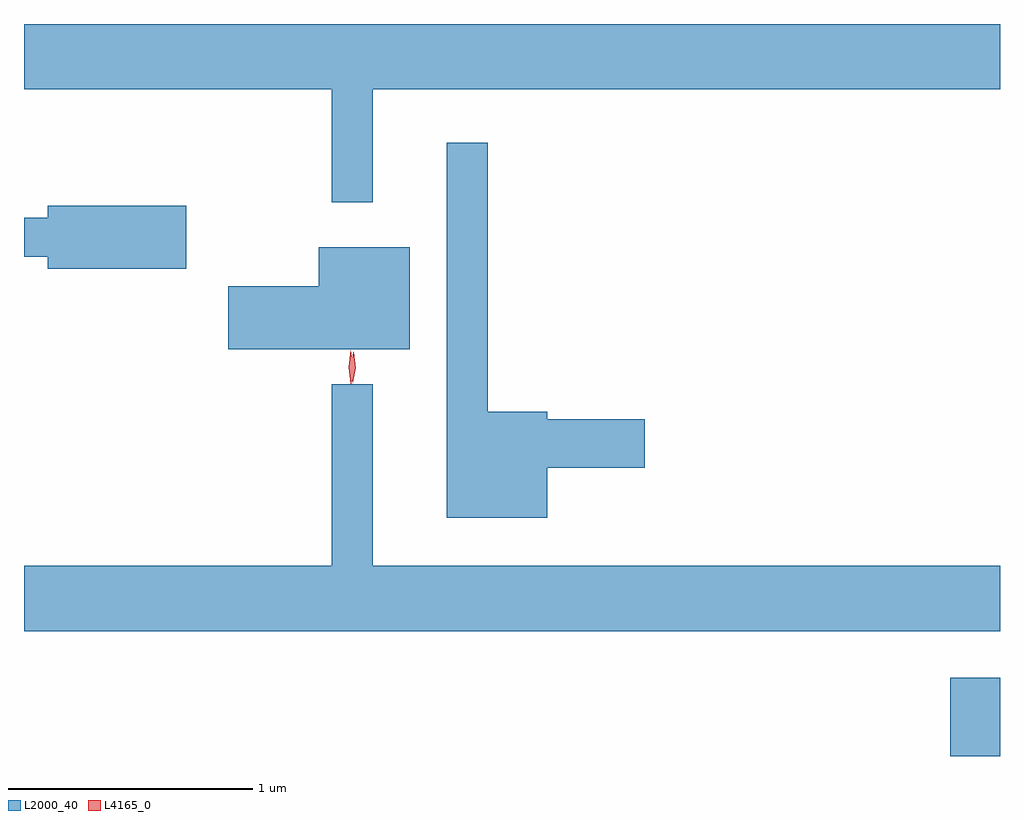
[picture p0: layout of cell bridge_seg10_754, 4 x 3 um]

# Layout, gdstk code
import gdstk
lib = gdstk.Library(unit=1e-6, precision=1e-09)
def R(c, l, rs):  # rectangles x0, y0, x1, y1
    for r in rs: c.add(gdstk.rectangle(r[:2], r[2:], *l))
def P(c, l, *ps):  # polygons
    for p in ps: c.add(gdstk.Polygon(p, *l))
L2000_40 = (2000, 40)
L4165_0 = (4165, 0)

bridge_seg10_754 = lib.new_cell('bridge_seg10_754')
R(bridge_seg10_754, L2000_40, [(612.676,2117.844,612.879,2118.164)])
P(bridge_seg10_754, L2000_40, [(610.309,2120.576),(612.879,2120.576),(612.879,2120.844),(608.879,2120.844),(608.879,2120.576),(610.141,2120.576),(610.141,2120.113),(610.309,2120.113)],
  [(611.024,2119.026),(611.424,2119.026),(611.424,2119.224),(611.024,2119.224),(611.024,2119.254),(610.779,2119.254),(610.779,2120.358),(610.611,2120.358),(610.611,2118.821),(611.024,2118.821)],
  [(609.544,2120.099),(608.976,2120.099),(608.976,2120.049),(608.879,2120.049),(608.879,2119.891),(608.976,2119.891),(608.976,2119.841),(609.544,2119.841)],
  [(610.459,2119.929),(610.086,2119.929),(610.086,2119.769),(609.716,2119.769),(609.716,2119.511),(610.459,2119.511)],
  [(612.879,2118.624),(610.309,2118.624),(610.309,2119.368),(610.141,2119.368),(610.141,2118.624),(608.879,2118.624),(608.879,2118.356),(612.879,2118.356)])
P(bridge_seg10_754, L4165_0, [(610.219,2119.37),(610.219,2119.37),(610.209,2119.438),(610.218,2119.506),(610.218,2119.506),(610.219,2119.506),(610.229,2119.438),(610.22,2119.37)],
  [(610.227,2119.373),(610.226,2119.374),(610.218,2119.436),(610.228,2119.499),(610.229,2119.5),(610.23,2119.499),(610.238,2119.436),(610.227,2119.374)])

lib.write_gds('bridge_seg10_754.gds')
